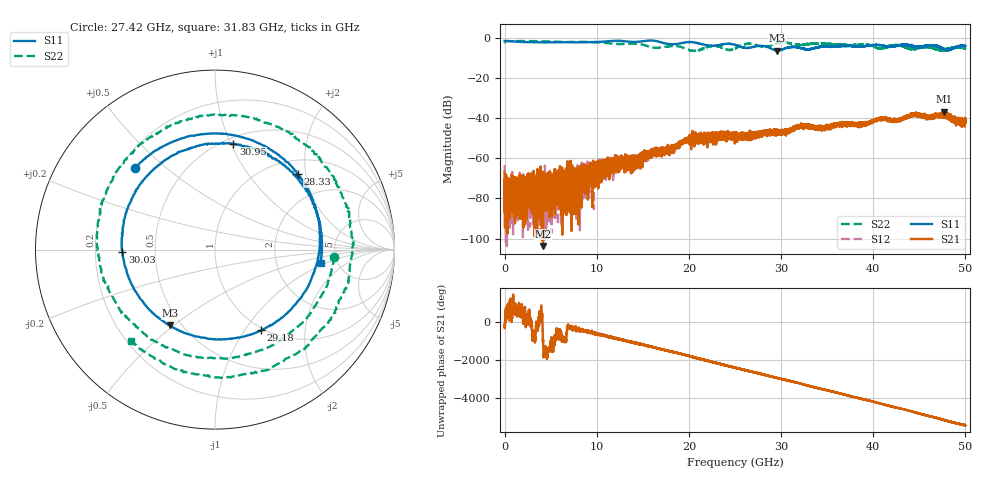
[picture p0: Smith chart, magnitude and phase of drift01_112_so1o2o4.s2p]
!Created with skrf (http://scikit-rf.org).
# Hz S RI R 50.0
!freq ReS11 ImS11 ReS21 ImS21 ReS12 ImS12 ReS22 ImS22
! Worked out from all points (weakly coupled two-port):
!   10001 points, 300 kHz to 50 GHz, reference 50 ohm
!   highest |S21| = -36.63 dB at 47.72 GHz (marker M1); lowest = -103.8 dB at 4.17 GHz (marker M2)
!   lowest |S11| = -6.2 dB at 29.61 GHz (marker M3), VSWR 2.92, Z = 21.9 - j24.3 ohm
!   |S11| at or under -10 dB: nowhere
!   |S22| runs from -6.4 to -1.4 dB; largest |S21 - S12| = 0.004
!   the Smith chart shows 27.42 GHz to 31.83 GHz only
!   S11 on the Smith chart (normalised r, x): 27.42 GHz: 0.26, +0.39; 28.33 GHz: 1.30, +1.80; 29.18 GHz: 0.97, -1.19; 30.03 GHz: 0.32, -0.01; 30.95 GHz: 0.56, +1.02; 31.83 GHz: 3.74, -0.87
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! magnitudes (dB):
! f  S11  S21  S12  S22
! 300 kHz  -1.3  -66.8  -63.3  -2.1
! 255.3 MHz  -1.4  -78.9  -72.6  -1.4
! 4.17 GHz  -2.0  -103.8  -74.4  -1.5
! 4.745 GHz  -2.1  -72.6  -74.8  -1.6
! 8.335 GHz  -2.0  -65.0  -69.1  -1.8
! 16.67 GHz  -1.6  -57.8  -55.3  -4.8
! 20.52 GHz  -2.0  -50.6  -49.7  -6.3
! 22.6 GHz  -3.8  -50.5  -48.1  -3.8
! 25 GHz  -3.3  -50.7  -48.5  -5.1
! 27.42 GHz  -3.9  -47.3  -48.1  -3.5
! 28.33 GHz  -4.1  -47.3  -47.0  -4.3
! 29.18 GHz  -5.7  -46.1  -46.5  -3.1
! 29.61 GHz  -6.2  -48.2  -46.6  -2.5
! 30.03 GHz  -5.7  -47.5  -46.9  -2.2
! 30.95 GHz  -4.5  -45.6  -46.5  -2.5
! 31.83 GHz  -4.5  -44.1  -44.2  -3.2
! 33.34 GHz  -5.3  -43.7  -44.3  -2.7
! 41.67 GHz  -4.3  -41.1  -40.7  -4.4
! 44.53 GHz  -4.1  -37.5  -38.2  -5.5
! 46.5 GHz  -3.7  -39.0  -38.8  -4.7
! 47.72 GHz  -5.3  -36.6  -37.9  -5.6
! 50 GHz  -3.9  -41.9  -42.0  -5.3
